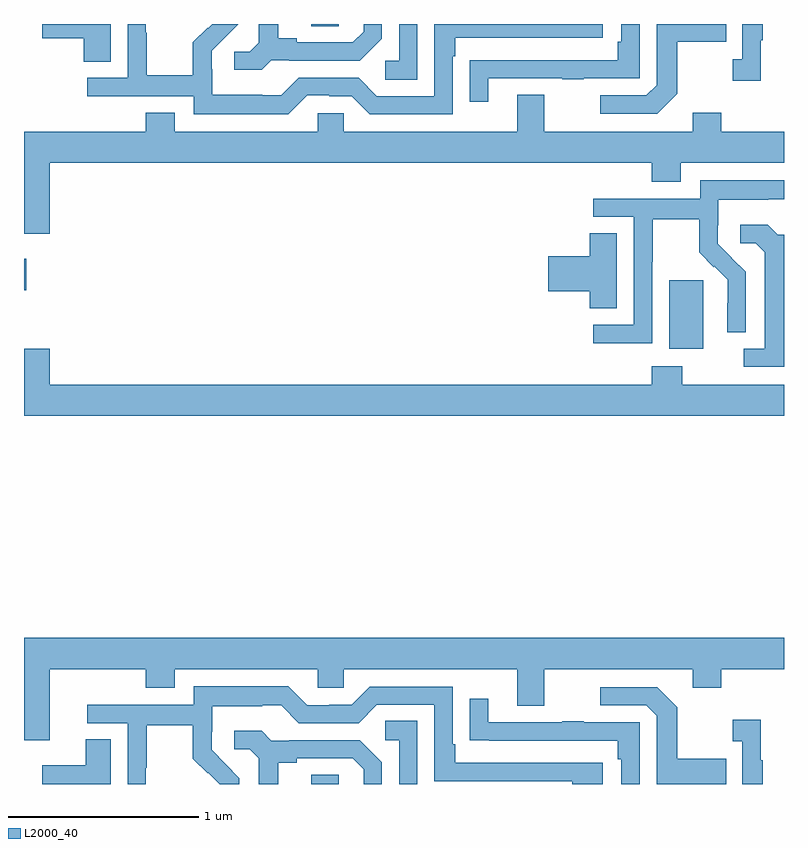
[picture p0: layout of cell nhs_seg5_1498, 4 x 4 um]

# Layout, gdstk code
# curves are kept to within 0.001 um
import gdstk
lib = gdstk.Library(unit=1e-6, precision=1e-09)
def R(c, l, rs):  # rectangles x0, y0, x1, y1
    for r in rs: c.add(gdstk.rectangle(r[:2], r[2:], *l))
def P(c, l, *ps):  # polygons
    for p in ps: c.add(gdstk.Polygon(p, *l))
L2000_40 = (2000, 40)

nhs_seg5_1498 = lib.new_cell('nhs_seg5_1498')
R(nhs_seg5_1498, L2000_40, [(202.511,878.799,202.656,878.849), (204.395,881.09,204.574,881.451), (201,881.398,201.013,881.563), (202.511,882.787,202.656,882.799)])
P(nhs_seg5_1498, L2000_40, [(202.491,882.423),(202.607,882.423),(202.607,882.42),(202.725,882.42),(202.821,882.324),(203.256,882.324),(203.256,882.629),(203.269,882.629),(203.269,882.726),(204.046,882.726),(204.046,882.799),(203.16,882.799),(203.16,882.42),(202.857,882.42),(202.761,882.516),(202.446,882.516),(202.353,882.423),(202.253,882.423),(202.253,882.427),(201.99,882.427),(201.99,882.561),(201.988,882.561),(201.988,882.658),(202.127,882.799),(201.991,882.799),(201.969,882.777),(201.966,882.78),(201.889,882.703),(201.889,882.529),(201.645,882.529),(201.645,882.752),(201.642,882.752),(201.642,882.799),(201.546,882.799),(201.546,882.516),(201.333,882.516),(201.333,882.42),(201.894,882.42),(201.894,882.323),(202.391,882.323)],
  [(202.302,882.609),(202.396,882.609),(202.396,882.606),(202.768,882.606),(202.884,882.722),(202.884,882.799),(202.787,882.799),(202.787,882.759),(202.73,882.702),(202.435,882.702),(202.435,882.725),(202.339,882.725),(202.339,882.799),(202.235,882.799),(202.235,882.701),(202.188,882.654),(202.107,882.654),(202.107,882.557),(202.25,882.557)],
  [(204.877,882.713),(204.889,882.713),(204.889,882.799),(204.78,882.799),(204.78,882.614),(204.729,882.614),(204.729,882.501),(204.877,882.501)],
  [(204.439,882.433),(204.439,882.706),(204.695,882.706),(204.695,882.799),(204.33,882.799),(204.33,882.477),(204.276,882.423),(204.033,882.423),(204.033,882.327),(204.333,882.327)],
  [(201.457,882.799),(201.096,882.799),(201.096,882.725),(201.314,882.725),(201.314,882.601),(201.457,882.601)],
  [(203.07,882.799),(202.974,882.799),(202.974,882.606),(202.902,882.606),(202.902,882.505),(203.07,882.505)],
  [(203.443,882.513),(203.833,882.513),(203.833,882.508),(203.945,882.508),(203.945,882.513),(204.24,882.513),(204.24,882.799),(204.144,882.799),(204.144,882.706),(204.124,882.706),(204.124,882.609),(203.449,882.609),(203.449,882.608),(203.347,882.608),(203.347,882.39),(203.443,882.39)],
  [(201.136,882.068),(204.305,882.068),(204.305,881.969),(204.457,881.969),(204.457,882.068),(205,882.068),(205,882.232),(204.669,882.232),(204.669,882.331),(204.521,882.331),(204.521,882.232),(203.737,882.232),(203.737,882.427),(203.597,882.427),(203.597,882.232),(202.683,882.232),(202.683,882.33),(202.545,882.33),(202.545,882.232),(201.793,882.232),(201.793,882.331),(201.641,882.331),(201.641,882.232),(201,882.232),(201,881.694),(201.136,881.694)],
  [(204.306,881.548),(204.309,881.548),(204.309,881.772),(204.553,881.772),(204.553,881.597),(204.63,881.52),(204.633,881.523),(204.704,881.453),(204.704,881.33),(204.702,881.33),(204.702,881.176),(204.798,881.176),(204.798,881.494),(204.652,881.642),(204.652,881.739),(204.654,881.739),(204.654,881.873),(204.917,881.873),(204.917,881.877),(205,881.877),(205,881.977),(204.558,881.977),(204.558,881.88),(203.997,881.88),(203.997,881.784),(204.21,881.784),(204.21,881.217),(203.997,881.217),(203.997,881.119),(204.306,881.119)],
  [(205,881.691),(204.966,881.691),(204.914,881.743),(204.771,881.743),(204.771,881.646),(204.852,881.646),(204.899,881.599),(204.899,881.091),(204.789,881.091),(204.789,880.995),(205,880.995)],
  [(204.121,881.699),(203.978,881.699),(203.978,881.576),(203.76,881.576),(203.76,881.393),(203.978,881.393),(203.978,881.302),(204.121,881.302)],
  [(205,880.9),(204.465,880.9),(204.465,880.999),(204.305,880.999),(204.305,880.9),(201.136,880.9),(201.136,881.089),(201,881.089),(201,880.736),(205,880.736)],
  [(201.136,879.404),(201.641,879.404),(201.641,879.305),(201.793,879.305),(201.793,879.404),(202.545,879.404),(202.545,879.306),(202.683,879.306),(202.683,879.404),(203.597,879.404),(203.597,879.21),(203.737,879.21),(203.737,879.404),(204.521,879.404),(204.521,879.305),(204.669,879.305),(204.669,879.404),(205,879.404),(205,879.568),(201,879.568),(201,879.03),(201.136,879.03)],
  [(201.642,878.884),(201.645,878.884),(201.645,879.108),(201.889,879.108),(201.889,878.933),(201.966,878.856),(201.969,878.859),(202.03,878.799),(202.134,878.799),(202.134,878.83),(201.988,878.978),(201.988,879.075),(201.99,879.075),(201.99,879.209),(202.253,879.209),(202.253,879.213),(202.353,879.213),(202.446,879.12),(202.761,879.12),(202.857,879.216),(203.16,879.216),(203.16,878.814),(203.885,878.814),(203.885,878.799),(204.046,878.799),(204.046,878.91),(203.269,878.91),(203.269,879.007),(203.256,879.007),(203.256,879.312),(202.821,879.312),(202.725,879.216),(202.607,879.216),(202.607,879.213),(202.491,879.213),(202.391,879.313),(201.894,879.313),(201.894,879.216),(201.333,879.216),(201.333,879.12),(201.546,879.12),(201.546,878.799),(201.642,878.799)],
  [(204.695,878.931),(204.439,878.931),(204.439,879.203),(204.333,879.309),(204.033,879.309),(204.033,879.213),(204.276,879.213),(204.33,879.159),(204.33,878.799),(204.695,878.799)],
  [(204.24,879.123),(203.945,879.123),(203.945,879.128),(203.833,879.128),(203.833,879.123),(203.443,879.123),(203.443,879.247),(203.347,879.247),(203.347,879.028),(203.449,879.028),(203.449,879.027),(204.124,879.027),(204.124,878.93),(204.144,878.93),(204.144,878.799),(204.24,878.799)],
  [(204.889,878.923),(204.877,878.923),(204.877,879.136),(204.729,879.136),(204.729,879.023),(204.78,879.023),(204.78,878.799),(204.889,878.799)],
  [(203.07,879.131),(202.902,879.131),(202.902,879.03),(202.974,879.03),(202.974,878.799),(203.07,878.799)],
  [(202.339,878.912),(202.435,878.912),(202.435,878.934),(202.73,878.934),(202.787,878.877),(202.787,878.799),(202.884,878.799),(202.884,878.914),(202.768,879.03),(202.396,879.03),(202.396,879.027),(202.302,879.027),(202.25,879.079),(202.107,879.079),(202.107,878.982),(202.188,878.982),(202.235,878.935),(202.235,878.799),(202.339,878.799)],
  [(201.457,879.035),(201.326,879.035),(201.326,878.899),(201.096,878.899),(201.096,878.799),(201.457,878.799)])

lib.write_gds('nhs_seg5_1498.gds')
